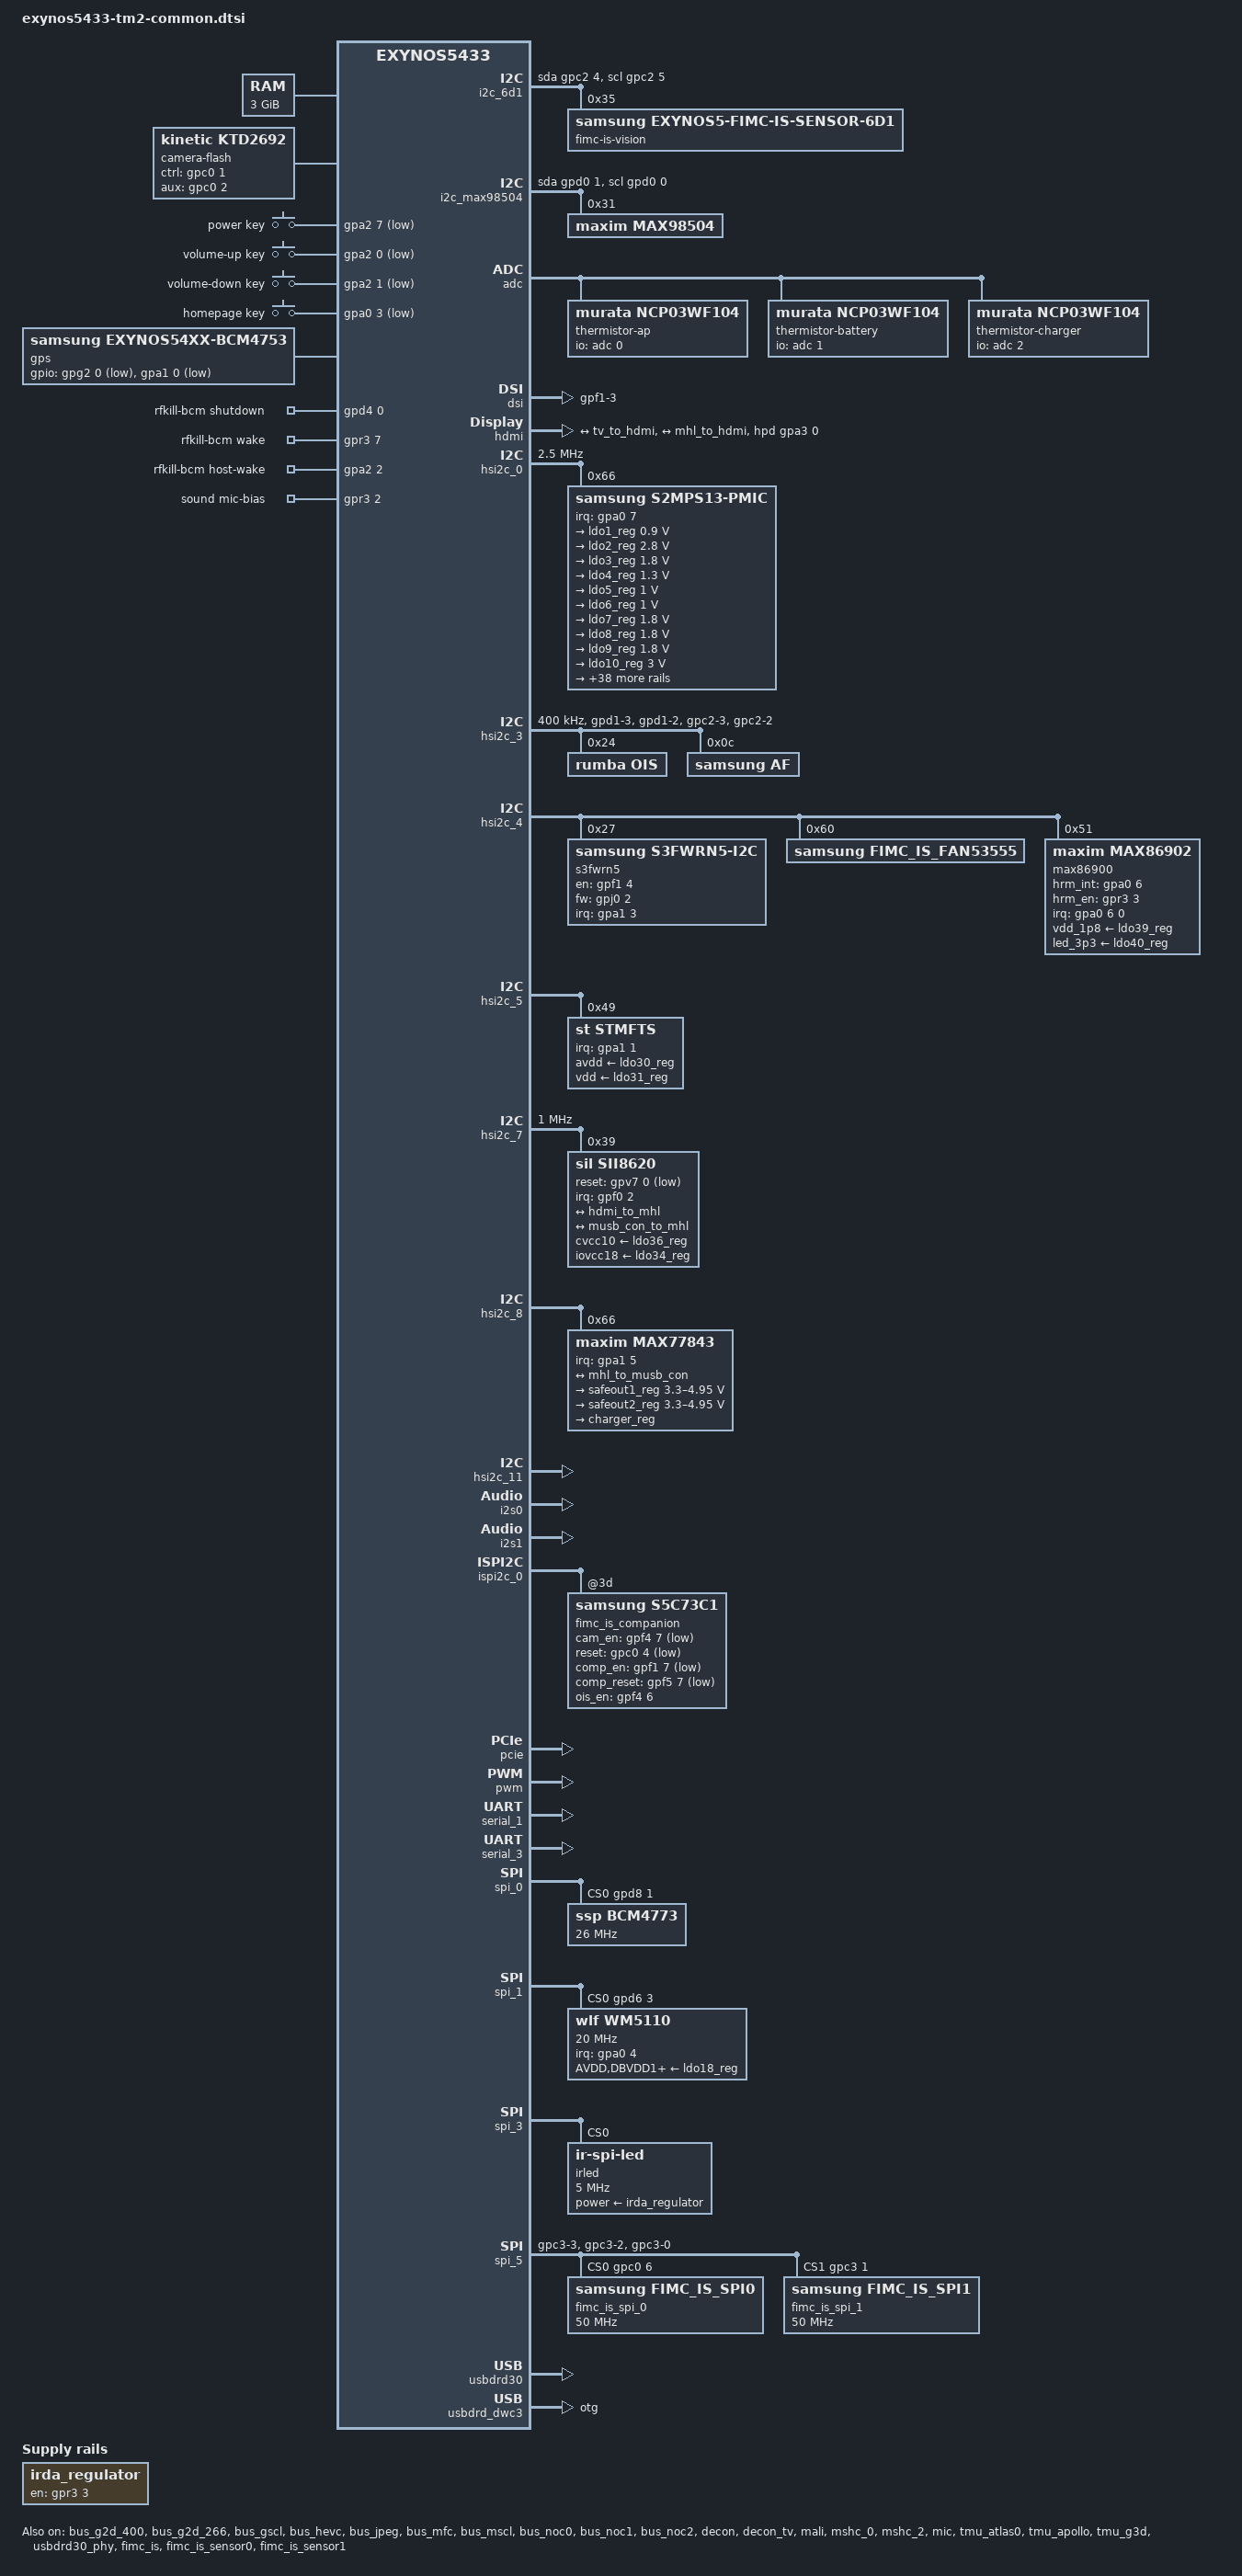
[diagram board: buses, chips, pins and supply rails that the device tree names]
/*
 * SAMSUNG Exynos5433 TM2 board device tree source
 *
 * Copyright (c) 2016 Samsung Electronics Co., Ltd.
 *
 * Common device tree source file for Samsung's TM2 and TM2E boards
 * which are based on Samsung Exynos5433 SoC.
 *
 * This program is free software; you can redistribute it and/or modify
 * it under the terms of the GNU General Public License version 2 as
 * published by the Free Software Foundation.
 */

/dts-v1/;
#include "exynos5433.dtsi"
#include <dt-bindings/clock/samsung,s2mps11.h>
#include <dt-bindings/gpio/gpio.h>
#include <dt-bindings/input/input.h>
#include <dt-bindings/interrupt-controller/irq.h>
#include <dt-bindings/sound/samsung-i2s.h>

/ {
	aliases {
		csis0 = &mipi_csis_0;
		csis1 = &mipi_csis_1;
		csis2 = &mipi_csis_2;
		fimc-lite0 = &fimc_lite_a;
		fimc-lite1 = &fimc_lite_b;
		fimc-lite2 = &fimc_lite_c;
		gsc0 = &gsc_0;
		gsc1 = &gsc_1;
		gsc2 = &gsc_2;
		i2c0 = &hsi2c_0;
		i2c1 = &hsi2c_1;
		i2c2 = &hsi2c_2;
		i2c3 = &hsi2c_3;
		i2c4 = &hsi2c_4;
		i2c5 = &hsi2c_5;
		i2c6 = &hsi2c_6;
		i2c7 = &hsi2c_7;
		i2c8 = &hsi2c_8;
		i2c9 = &hsi2c_9;
		i2c10 = &hsi2c_10;
		i2c11 = &hsi2c_11;
		i2c12 = &i2c_max98504;
		i2c13 = &i2c_6d1;
		i2c20 = &ispi2c_0;
		pinctrl0 = &pinctrl_alive;
		pinctrl1 = &pinctrl_aud;
		pinctrl2 = &pinctrl_cpif;
		pinctrl3 = &pinctrl_ese;
		pinctrl4 = &pinctrl_finger;
		pinctrl5 = &pinctrl_fsys;
		pinctrl6 = &pinctrl_imem;
		pinctrl7 = &pinctrl_nfc;
		pinctrl8 = &pinctrl_peric;
		pinctrl9 = &pinctrl_touch;
		serial0 = &serial_0;
		serial1 = &serial_1;
		serial2 = &serial_2;
		serial3 = &serial_3;
		spi0 = &spi_0;
		spi1 = &spi_1;
		spi2 = &spi_2;
		spi3 = &spi_3;
		spi4 = &spi_4;
		spi5 = &spi_5;
		spi6 = &spi_6;
		mshc0 = &mshc_0;
		mshc2 = &mshc_2;
	};

	chosen {
		stdout-path = &serial_1;
	};

	memory@20000000 {
		device_type = "memory";
		reg = <0x0 0x20000000 0x0 0xc0000000>;
	};

	camera-flash {
		compatible = "kinetic,ktd2692";
		ctrl-gpios = <&gpc0 1 GPIO_ACTIVE_HIGH>;
		aux-gpios = <&gpc0 2 GPIO_ACTIVE_HIGH>;

		flash-led {
			label = "ktd2692-flash";
			led-max-microamp = <300000>;
			flash-max-microamp = <1500000>;
			flash-max-timeout-us = <1835000>;
		};
	};

	gpio-keys {
		compatible = "gpio-keys";

		power-key {
			gpios = <&gpa2 7 GPIO_ACTIVE_LOW>;
			linux,code = <KEY_POWER>;
			label = "power key";
			debounce-interval = <10>;
			wakeup-source;
		};

		volume-up-key {
			gpios = <&gpa2 0 GPIO_ACTIVE_LOW>;
			linux,code = <KEY_VOLUMEUP>;
			label = "volume-up key";
			debounce-interval = <10>;
		};

		volume-down-key {
			gpios = <&gpa2 1 GPIO_ACTIVE_LOW>;
			linux,code = <KEY_VOLUMEDOWN>;
			label = "volume-down key";
			debounce-interval = <10>;
		};

		homepage-key {
			gpios = <&gpa0 3 GPIO_ACTIVE_LOW>;
			linux,code = <KEY_MENU>;
			label = "homepage key";
			debounce-interval = <10>;
		};
	};

	gps {
		compatible = "samsung,exynos54xx-bcm4753";
		gpios = <&gpg2 0 0x1 &gpa1 0 0xf>;
		status = "okay";
		pinctrl-names ="default";
		pinctrl-0 = <&ssp_gps_pwr_en &ssp_host_wake>;
	};

	i2c_6d1: i2c-gpio-1 {
		compatible = "i2c-gpio";
		gpios = <&gpc2 4 GPIO_ACTIVE_HIGH /* SDA */
		         &gpc2 5 GPIO_ACTIVE_HIGH /* SCL */>;
		i2c-gpio,delay-us = <2>;
		#address-cells = <1>;
		#size-cells = <0>;
		status = "okay";
		fimc-is-vision@35 {
			compatible = "samsung,exynos5-fimc-is-sensor-6d1";
			reg = <0x35>;
		};
	};

	i2c_max98504: i2c-gpio-0 {
		compatible = "i2c-gpio";
		gpios = <&gpd0 1 GPIO_ACTIVE_HIGH /* SPK_AMP_SDA */
			 &gpd0 0 GPIO_ACTIVE_HIGH /* SPK_AMP_SCL */ >;
		i2c-gpio,delay-us = <2>;
		#address-cells = <1>;
		#size-cells = <0>;
		status = "okay";

		max98504: max98504@31 {
			compatible = "maxim,max98504";
			reg = <0x31>;
			maxim,rx-path = <1>;
			maxim,tx-path = <1>;
			maxim,tx-channel-mask = <3>;
			maxim,tx-channel-source = <2>;
		};
	};

	irda_regulator: irda-regulator {
		compatible = "regulator-fixed";
		enable-active-high;
		gpio = <&gpr3 3 GPIO_ACTIVE_HIGH>;
		regulator-name = "irda_regulator";
	};

	rfkill-bcm {
		compatible = "brcm,bcm4358";
		rfkill-name = "bcm4358-bt";
		rfkill-type = <2>;
		shutdown-gpios = <&gpd4 0 GPIO_ACTIVE_HIGH>;
		wake-gpios = <&gpr3 7 GPIO_ACTIVE_HIGH>;
		host-wake-gpios = <&gpa2 2 GPIO_ACTIVE_HIGH>;
		clocks = <&s2mps13_osc S2MPS11_CLK_BT>;
		clock-names = "clk32k";
	};

	sound {
		compatible = "samsung,tm2-audio";
		audio-codec = <&wm5110>, <&hdmi>;
		i2s-controller = <&i2s0 0>, <&i2s1 0>;
		audio-amplifier = <&max98504>;
		mic-bias-gpios = <&gpr3 2 GPIO_ACTIVE_HIGH>;
		model = "wm5110";
		samsung,audio-routing =
			/* Headphone */
			"HP", "HPOUT1L",
			"HP", "HPOUT1R",

			/* Speaker */
			"SPK", "SPKOUT",
			"SPKOUT", "HPOUT2L",
			"SPKOUT", "HPOUT2R",

			/* Receiver */
			"RCV", "HPOUT3L",
			"RCV", "HPOUT3R";
		status = "okay";
	};

	fimc_is_sensor0: fimc_is_sensor@12100000 {
		compatible = "samsung,exynos5-fimc-is-sensor";
		reg = <0x12100000 0x10000>, <0x12120000 0x10000>;
		interrupts = <0 140 0>;
		power-domains = <&pd_cam0>;
		clock-names = "sclk_isp_sensor0",
				"sclk_isp_sensor1",
				"sclk_isp_sensor2",

				"mout_sclk_isp_sensor0",
				"mout_sclk_isp_sensor1",
				"mout_sclk_isp_sensor2",

				"dout_sclk_isp_sensor0_a",
				"dout_sclk_isp_sensor0_b",
				"dout_sclk_isp_sensor1_a",
				"dout_sclk_isp_sensor1_b",
				"dout_sclk_isp_sensor2_a",
				"dout_sclk_isp_sensor2_b",
				"oscclk";
		clocks = <&cmu_top CLK_SCLK_ISP_SENSOR0>,
				<&cmu_top CLK_SCLK_ISP_SENSOR1>,
				<&cmu_top CLK_SCLK_ISP_SENSOR2>,

				<&cmu_top CLK_MOUT_SCLK_ISP_SENSOR0>,
				<&cmu_top CLK_MOUT_SCLK_ISP_SENSOR1>,
				<&cmu_top CLK_MOUT_SCLK_ISP_SENSOR2>,

				<&cmu_top CLK_DIV_SCLK_ISP_SENSOR0_A>,
				<&cmu_top CLK_DIV_SCLK_ISP_SENSOR0_B>,
				<&cmu_top CLK_DIV_SCLK_ISP_SENSOR1_A>,
				<&cmu_top CLK_DIV_SCLK_ISP_SENSOR1_B>,
				<&cmu_top CLK_DIV_SCLK_ISP_SENSOR2_A>,
				<&cmu_top CLK_DIV_SCLK_ISP_SENSOR2_B>,
				<&xxti>;

		pinctrl-names =	"ch0", "af0";
		pinctrl-0 = <&fimc_is_ch0_i2c &fimc_is_ch0_mclk>;
		pinctrl-1 = <&fimc_is_ch0_i2c &fimc_is_ch0_mclk &fimc_is_ch1_i2c>;

		scenario = <0>;
		gpio_rest = <&gpc0 4 0x1>;
		id = <0>;
		mclk_ch = <0>;
		csi_ch = <0>;
		flite_ch = <0>;
		i2c_ch = <0x010100>;
		i2c_addr = <0x483434>;
		flash_first_gpio = <1>;
		flash_second_gpio = <2>;
		sensor_name = "imx240";
		sensor_id = <104>;
		is_bns = <1>;
		status = "okay";
		phys = <&mipi_phy 0>;
		phy-names = "csis";
	};

	fimc_is_sensor1: fimc_is_sensor@12110000 {
		compatible = "samsung,exynos5-fimc-is-sensor";
		reg = <0x12110000 0x40000>, <0x12130000 0x10000>;
		interrupts = <0 141 0>;
		power-domains = <&pd_cam0>;
		clock-names = "sclk_isp_sensor0",
				"sclk_isp_sensor1",
				"sclk_isp_sensor2",

				"mout_sclk_isp_sensor0",
				"mout_sclk_isp_sensor1",
				"mout_sclk_isp_sensor2",

				"dout_sclk_isp_sensor0_a",
				"dout_sclk_isp_sensor0_b",
				"dout_sclk_isp_sensor1_a",
				"dout_sclk_isp_sensor1_b",
				"dout_sclk_isp_sensor2_a",
				"dout_sclk_isp_sensor2_b",
				"oscclk";
		clocks = <&cmu_top CLK_SCLK_ISP_SENSOR0>,
				<&cmu_top CLK_SCLK_ISP_SENSOR1>,
				<&cmu_top CLK_SCLK_ISP_SENSOR2>,

				<&cmu_top CLK_MOUT_SCLK_ISP_SENSOR0>,
				<&cmu_top CLK_MOUT_SCLK_ISP_SENSOR1>,
				<&cmu_top CLK_MOUT_SCLK_ISP_SENSOR2>,

				<&cmu_top CLK_DIV_SCLK_ISP_SENSOR0_A>,
				<&cmu_top CLK_DIV_SCLK_ISP_SENSOR0_B>,
				<&cmu_top CLK_DIV_SCLK_ISP_SENSOR1_A>,
				<&cmu_top CLK_DIV_SCLK_ISP_SENSOR1_B>,
				<&cmu_top CLK_DIV_SCLK_ISP_SENSOR2_A>,
				<&cmu_top CLK_DIV_SCLK_ISP_SENSOR2_B>,
				<&xxti>;

		pinctrl-names ="default", "ch1", "off1";
		pinctrl-0 = <&fimc_is_ch2_mclk_off>;
		pinctrl-1 = <&fimc_is_ch2_i2c &fimc_is_ch2_mclk>;
		pinctrl-2 = <&fimc_is_ch2_mclk_off &fimc_is_ch2_i2c_off>;

		scenario = <0>;
		gpio_reset = <&gpc0 3 0x1>;
		gpio_standby = <&gpc0 0 0x1>;
		id = <1>;
		mclk_ch = <2>;
		csi_ch = <1>;
		flite_ch = <1>;
		i2c_ch = <0x2>;
		i2c_addr = <0x6A>;
		sensor_name = "6d1";
		sensor_id = <16>;
		is_bns = <0>;
		status = "okay";
		phys = <&mipi_phy 2>;
		phy-names = "csis";
	};
};

&adc {
	vdd-supply = <&ldo3_reg>;
	status = "okay";

	thermistor-ap {
		compatible = "murata,ncp03wf104";
		pullup-uv = <1800000>;
		pullup-ohm = <100000>;
		pulldown-ohm = <0>;
		io-channels = <&adc 0>;
	};

	thermistor-battery {
		compatible = "murata,ncp03wf104";
		pullup-uv = <1800000>;
		pullup-ohm = <100000>;
		pulldown-ohm = <0>;
		io-channels = <&adc 1>;
		#thermal-sensor-cells = <0>;
	};

	thermistor-charger {
		compatible = "murata,ncp03wf104";
		pullup-uv = <1800000>;
		pullup-ohm = <100000>;
		pulldown-ohm = <0>;
		io-channels = <&adc 2>;
	};
};

&bus_g2d_400 {
	devfreq-events = <&ppmu_event0_d0_general>, <&ppmu_event0_d1_general>;
	vdd-supply = <&buck4_reg>;
	exynos,saturation-ratio = <10>;
	status = "okay";
};

&bus_g2d_266 {
	devfreq = <&bus_g2d_400>;
	status = "okay";
};

&bus_gscl {
	devfreq = <&bus_g2d_400>;
	status = "okay";
};

&bus_hevc {
	devfreq = <&bus_g2d_400>;
	status = "okay";
};

&bus_jpeg {
	devfreq = <&bus_g2d_400>;
	status = "okay";
};

&bus_mfc {
	devfreq = <&bus_g2d_400>;
	status = "okay";
};

&bus_mscl {
	devfreq = <&bus_g2d_400>;
	status = "okay";
};

&bus_noc0 {
	devfreq = <&bus_g2d_400>;
	status = "okay";
};

&bus_noc1 {
	devfreq = <&bus_g2d_400>;
	status = "okay";
};

&bus_noc2 {
	devfreq = <&bus_g2d_400>;
	status = "okay";
};

&cmu_aud {
	assigned-clocks = <&cmu_aud CLK_MOUT_AUD_PLL_USER>,
		<&cmu_aud CLK_MOUT_SCLK_AUD_I2S>,
		<&cmu_aud CLK_MOUT_SCLK_AUD_PCM>,
		<&cmu_top CLK_MOUT_AUD_PLL>,
		<&cmu_top CLK_MOUT_AUD_PLL_USER_T>,
		<&cmu_top CLK_MOUT_SCLK_AUDIO0>,
		<&cmu_top CLK_MOUT_SCLK_AUDIO1>,
		<&cmu_top CLK_MOUT_SCLK_SPDIF>,

		<&cmu_aud CLK_DIV_AUD_CA5>,
		<&cmu_aud CLK_DIV_ACLK_AUD>,
		<&cmu_aud CLK_DIV_PCLK_DBG_AUD>,
		<&cmu_aud CLK_DIV_SCLK_AUD_I2S>,
		<&cmu_aud CLK_DIV_SCLK_AUD_PCM>,
		<&cmu_aud CLK_DIV_SCLK_AUD_SLIMBUS>,
		<&cmu_aud CLK_DIV_SCLK_AUD_UART>,
		<&cmu_top CLK_DIV_SCLK_AUDIO0>,
		<&cmu_top CLK_DIV_SCLK_AUDIO1>,
		<&cmu_top CLK_DIV_SCLK_PCM1>,
		<&cmu_top CLK_DIV_SCLK_I2S1>;

	assigned-clock-parents = <&cmu_top CLK_FOUT_AUD_PLL>,
		<&cmu_aud CLK_MOUT_AUD_PLL_USER>,
		<&cmu_aud CLK_MOUT_AUD_PLL_USER>,
		<&cmu_top CLK_FOUT_AUD_PLL>,
		<&cmu_top CLK_MOUT_AUD_PLL>,
		<&cmu_top CLK_MOUT_AUD_PLL_USER_T>,
		<&cmu_top CLK_MOUT_AUD_PLL_USER_T>,
		<&cmu_top CLK_SCLK_AUDIO0>;

	assigned-clock-rates = <0>, <0>, <0>, <0>, <0>, <0>, <0>, <0>,
		<196608001>, <65536001>, <32768001>, <49152001>,
		<2048001>, <24576001>, <196608001>,
		<24576001>, <98304001>, <2048001>, <49152001>;
};

&cmu_fsys {
	assigned-clocks = <&cmu_top CLK_MOUT_SCLK_USBDRD30>,
		<&cmu_top CLK_MOUT_SCLK_USBHOST30>,
		<&cmu_fsys CLK_MOUT_SCLK_USBDRD30_USER>,
		<&cmu_fsys CLK_MOUT_SCLK_USBHOST30_USER>,
		<&cmu_fsys CLK_MOUT_PHYCLK_USBDRD30_UDRD30_PIPE_PCLK_USER>,
		<&cmu_fsys CLK_MOUT_PHYCLK_USBHOST30_UHOST30_PIPE_PCLK_USER>,
		<&cmu_fsys CLK_MOUT_PHYCLK_USBDRD30_UDRD30_PHYCLOCK_USER>,
		<&cmu_fsys CLK_MOUT_PHYCLK_USBHOST30_UHOST30_PHYCLOCK_USER>,
		<&cmu_top CLK_DIV_SCLK_USBDRD30>,
		<&cmu_top CLK_DIV_SCLK_USBHOST30>;
	assigned-clock-parents = <&cmu_top CLK_MOUT_BUS_PLL_USER>,
		<&cmu_top CLK_MOUT_BUS_PLL_USER>,
		<&cmu_top CLK_SCLK_USBDRD30_FSYS>,
		<&cmu_top CLK_SCLK_USBHOST30_FSYS>,
		<&cmu_fsys CLK_PHYCLK_USBDRD30_UDRD30_PIPE_PCLK_PHY>,
		<&cmu_fsys CLK_PHYCLK_USBHOST30_UHOST30_PIPE_PCLK_PHY>,
		<&cmu_fsys CLK_PHYCLK_USBDRD30_UDRD30_PHYCLOCK_PHY>,
		<&cmu_fsys CLK_PHYCLK_USBHOST30_UHOST30_PHYCLOCK_PHY>;
	assigned-clock-rates = <0>, <0>, <0>, <0>, <0>, <0>, <0>, <0>,
			       <66700000>, <66700000>;
};

&cmu_gscl {
	assigned-clocks = <&cmu_gscl CLK_MOUT_ACLK_GSCL_111_USER>,
			  <&cmu_gscl CLK_MOUT_ACLK_GSCL_333_USER>;
	assigned-clock-parents = <&cmu_top CLK_ACLK_GSCL_111>,
				 <&cmu_top CLK_ACLK_GSCL_333>;
};

&cmu_mfc {
	assigned-clocks = <&cmu_mfc CLK_MOUT_ACLK_MFC_400_USER>;
	assigned-clock-parents = <&cmu_top CLK_ACLK_MFC_400>;
};

&cmu_mscl {
	assigned-clocks = <&cmu_mscl CLK_MOUT_ACLK_MSCL_400_USER>,
			  <&cmu_mscl CLK_MOUT_SCLK_JPEG_USER>,
			  <&cmu_mscl CLK_MOUT_SCLK_JPEG>,
			  <&cmu_top CLK_MOUT_SCLK_JPEG_A>;
	assigned-clock-parents = <&cmu_top CLK_ACLK_MSCL_400>,
				 <&cmu_top CLK_SCLK_JPEG_MSCL>,
				 <&cmu_mscl CLK_MOUT_SCLK_JPEG_USER>,
				 <&cmu_top CLK_MOUT_BUS_PLL_USER>;
};

&cmu_top {
	assigned-clocks = <&cmu_top CLK_FOUT_AUD_PLL>;
	assigned-clock-rates = <196608001>;
};

&cpu0 {
	cpu-supply = <&buck3_reg>;
};

&cpu4 {
	cpu-supply = <&buck2_reg>;
};

&decon {
	status = "okay";
};

&decon_tv {
	status = "okay";

	ports {
		#address-cells = <1>;
		#size-cells = <0>;

		port@0 {
			reg = <0>;
			tv_to_hdmi: endpoint {
				remote-endpoint = <&hdmi_to_tv>;
			};
		};
	};
};

&dsi {
	status = "okay";
	vddcore-supply = <&ldo6_reg>;
	vddio-supply = <&ldo7_reg>;
	samsung,burst-clock-frequency = <512000000>;
	samsung,esc-clock-frequency = <16000000>;
	samsung,pll-clock-frequency = <24000000>;
	pinctrl-names = "default";
	pinctrl-0 = <&te_irq>;
};

&hdmi {
	hpd-gpios = <&gpa3 0 GPIO_ACTIVE_HIGH>;
	status = "okay";
	vdd-supply = <&ldo6_reg>;
	vdd_osc-supply = <&ldo7_reg>;
	vdd_pll-supply = <&ldo6_reg>;

	ports {
		#address-cells = <1>;
		#size-cells = <0>;

		port@0 {
			reg = <0>;
			hdmi_to_tv: endpoint {
				remote-endpoint = <&tv_to_hdmi>;
			};
		};

		port@1 {
			reg = <1>;
			hdmi_to_mhl: endpoint {
				remote-endpoint = <&mhl_to_hdmi>;
			};
		};
	};
};

&hsi2c_0 {
	status = "okay";
	clock-frequency = <2500000>;

	s2mps13-pmic@66 {
		compatible = "samsung,s2mps13-pmic";
		interrupt-parent = <&gpa0>;
		interrupts = <7 IRQ_TYPE_NONE>;
		reg = <0x66>;
		samsung,s2mps11-wrstbi-ground;

		s2mps13_osc: clocks {
			compatible = "samsung,s2mps13-clk";
			#clock-cells = <1>;
			clock-output-names = "s2mps13_ap", "s2mps13_cp",
				"s2mps13_bt";
		};

		regulators {
			ldo1_reg: LDO1 {
				regulator-name = "VDD_ALIVE_0.9V_AP";
				regulator-min-microvolt = <900000>;
				regulator-max-microvolt = <900000>;
				regulator-always-on;
			};

			ldo2_reg: LDO2 {
				regulator-name = "VDDQ_MMC2_2.8V_AP";
				regulator-min-microvolt = <2800000>;
				regulator-max-microvolt = <2800000>;
				regulator-always-on;
				regulator-state-mem {
					regulator-off-in-suspend;
				};
			};

			ldo3_reg: LDO3 {
				regulator-name = "VDD1_E_1.8V_AP";
				regulator-min-microvolt = <1800000>;
				regulator-max-microvolt = <1800000>;
				regulator-always-on;
			};

			ldo4_reg: LDO4 {
				regulator-name = "VDD10_MIF_PLL_1.0V_AP";
				regulator-min-microvolt = <1300000>;
				regulator-max-microvolt = <1300000>;
				regulator-always-on;
				regulator-state-mem {
					regulator-off-in-suspend;
				};
			};

			ldo5_reg: LDO5 {
				regulator-name = "VDD10_DPLL_1.0V_AP";
				regulator-min-microvolt = <1000000>;
				regulator-max-microvolt = <1000000>;
				regulator-always-on;
				regulator-state-mem {
					regulator-off-in-suspend;
				};
			};

			ldo6_reg: LDO6 {
				regulator-name = "VDD10_MIPI2L_1.0V_AP";
				regulator-min-microvolt = <1000000>;
				regulator-max-microvolt = <1000000>;
				regulator-state-mem {
					regulator-off-in-suspend;
				};
			};

			ldo7_reg: LDO7 {
				regulator-name = "VDD18_MIPI2L_1.8V_AP";
				regulator-min-microvolt = <1800000>;
				regulator-max-microvolt = <1800000>;
				regulator-always-on;
				regulator-state-mem {
					regulator-off-in-suspend;
				};
			};

			ldo8_reg: LDO8 {
				regulator-name = "VDD18_LLI_1.8V_AP";
				regulator-min-microvolt = <1800000>;
				regulator-max-microvolt = <1800000>;
				regulator-always-on;
				regulator-state-mem {
					regulator-off-in-suspend;
				};
			};

			ldo9_reg: LDO9 {
				regulator-name = "VDD18_ABB_ETC_1.8V_AP";
				regulator-min-microvolt = <1800000>;
				regulator-max-microvolt = <1800000>;
				regulator-always-on;
				regulator-state-mem {
					regulator-off-in-suspend;
				};
			};

			ldo10_reg: LDO10 {
				regulator-name = "VDD33_USB30_3.0V_AP";
				regulator-min-microvolt = <3000000>;
				regulator-max-microvolt = <3000000>;
				regulator-state-mem {
					regulator-off-in-suspend;
				};
			};

			ldo11_reg: LDO11 {
				regulator-name = "VDD_INT_M_1.0V_AP";
				regulator-min-microvolt = <1000000>;
				regulator-max-microvolt = <1000000>;
				regulator-always-on;
				regulator-state-mem {
					regulator-off-in-suspend;
				};
			};

			ldo12_reg: LDO12 {
				regulator-name = "VDD_KFC_M_1.1V_AP";
				regulator-min-microvolt = <800000>;
				regulator-max-microvolt = <1350000>;
				regulator-always-on;
			};

			ldo13_reg: LDO13 {
				regulator-name = "VDD_G3D_M_0.95V_AP";
				regulator-min-microvolt = <950000>;
				regulator-max-microvolt = <950000>;
				regulator-always-on;
				regulator-state-mem {
					regulator-off-in-suspend;
				};
			};

			ldo14_reg: LDO14 {
				regulator-name = "VDDQ_M1_LDO_1.2V_AP";
				regulator-min-microvolt = <1200000>;
				regulator-max-microvolt = <1200000>;
				regulator-always-on;
				regulator-state-mem {
					regulator-off-in-suspend;
				};
			};

			ldo15_reg: LDO15 {
				regulator-name = "VDDQ_M2_LDO_1.2V_AP";
				regulator-min-microvolt = <1200000>;
				regulator-max-microvolt = <1200000>;
				regulator-always-on;
				regulator-state-mem {
					regulator-off-in-suspend;
				};
			};

			ldo16_reg: LDO16 {
				regulator-name = "VDDQ_EFUSE";
				regulator-min-microvolt = <1400000>;
				regulator-max-microvolt = <3400000>;
				regulator-always-on;
			};

			ldo17_reg: LDO17 {
				regulator-name = "V_TFLASH_2.8V_AP";
				regulator-min-microvolt = <2800000>;
				regulator-max-microvolt = <2800000>;
			};

			ldo18_reg: LDO18 {
				regulator-name = "V_CODEC_1.8V_AP";
				regulator-min-microvolt = <1800000>;
				regulator-max-microvolt = <1800000>;
			};

			ldo19_reg: LDO19 {
				regulator-name = "VDDA_1.8V_COMP";
				regulator-min-microvolt = <1800000>;
				regulator-max-microvolt = <1800000>;
				regulator-always-on;
			};

			ldo20_reg: LDO20 {
				regulator-name = "VCC_2.8V_AP";
				regulator-min-microvolt = <2800000>;
				regulator-max-microvolt = <2800000>;
				regulator-always-on;
			};

			ldo21_reg: LDO21 {
				regulator-name = "VT_CAM_1.8V";
				regulator-min-microvolt = <1800000>;
				regulator-max-microvolt = <1800000>;
			};

			ldo22_reg: LDO22 {
				regulator-name = "CAM_IO_1.8V_AP";
				regulator-min-microvolt = <1800000>;
				regulator-max-microvolt = <1800000>;
			};

			ldo23_reg: LDO23 {
				regulator-name = "CAM_SEN_CORE_1.2V_AP";
				regulator-min-microvolt = <1050000>;
				regulator-max-microvolt = <1200000>;
			};

			ldo24_reg: LDO24 {
				regulator-name = "VT_CAM_1.2V";
				regulator-min-microvolt = <1200000>;
				regulator-max-microvolt = <1200000>;
			};

			ldo25_reg: LDO25 {
				regulator-name = "UNUSED_LDO25";
				regulator-min-microvolt = <2800000>;
				regulator-max-microvolt = <2800000>;
			};

			ldo26_reg: LDO26 {
				regulator-name = "CAM_AF_2.8V_AP";
				regulator-min-microvolt = <2800000>;
				regulator-max-microvolt = <2800000>;
			};

			ldo27_reg: LDO27 {
				regulator-name = "VCC_3.0V_LCD_AP";
				regulator-min-microvolt = <3000000>;
				regulator-max-microvolt = <3000000>;
			};

			ldo28_reg: LDO28 {
				regulator-name = "VCC_1.8V_LCD_AP";
				regulator-min-microvolt = <1800000>;
				regulator-max-microvolt = <1800000>;
			};

			ldo29_reg: LDO29 {
				regulator-name = "VT_CAM_2.8V";
				regulator-min-microvolt = <3000000>;
				regulator-max-microvolt = <3000000>;
			};

			ldo30_reg: LDO30 {
				regulator-name = "TSP_AVDD_3.3V_AP";
				regulator-min-microvolt = <3300000>;
				regulator-max-microvolt = <3300000>;
			};

			ldo31_reg: LDO31 {
				/*
				 * LDO31 differs from target to target,
				 * its definition is in the .dts
				 */
			};

			ldo32_reg: LDO32 {
				regulator-name = "VTOUCH_1.8V_AP";
				regulator-min-microvolt = <1800000>;
				regulator-max-microvolt = <1800000>;
			};

			ldo33_reg: LDO33 {
				regulator-name = "VTOUCH_LED_3.3V";
				regulator-min-microvolt = <2500000>;
				regulator-max-microvolt = <3300000>;
				regulator-ramp-delay = <12500>;
			};

			ldo34_reg: LDO34 {
				regulator-name = "VCC_1.8V_MHL_AP";
				regulator-min-microvolt = <1000000>;
				regulator-max-microvolt = <2100000>;
			};

			ldo35_reg: LDO35 {
				regulator-name = "OIS_VM_2.8V";
				regulator-min-microvolt = <1800000>;
				regulator-max-microvolt = <2800000>;
			};

			ldo36_reg: LDO36 {
				regulator-name = "VSIL_1.0V";
				regulator-min-microvolt = <1000000>;
				regulator-max-microvolt = <1000000>;
			};

			ldo37_reg: LDO37 {
				regulator-name = "VF_1.8V";
				regulator-min-microvolt = <1800000>;
				regulator-max-microvolt = <1800000>;
			};

			ldo38_reg: LDO38 {
				/*
				 * LDO38 differs from target to target,
				 * its definition is in the .dts
				 */
			};

			ldo39_reg: LDO39 {
				regulator-name = "V_HRM_1.8V";
				regulator-min-microvolt = <1800000>;
				regulator-max-microvolt = <1800000>;
			};

			ldo40_reg: LDO40 {
				regulator-name = "V_HRM_3.3V";
				regulator-min-microvolt = <3300000>;
				regulator-max-microvolt = <3300000>;
			};

			buck1_reg: BUCK1 {
				regulator-name = "VDD_MIF_0.9V_AP";
				regulator-min-microvolt = <600000>;
				regulator-max-microvolt = <1500000>;
				regulator-always-on;
				regulator-state-mem {
					regulator-off-in-suspend;
				};
			};

			buck2_reg: BUCK2 {
				regulator-name = "VDD_EGL_1.0V_AP";
				regulator-min-microvolt = <900000>;
				regulator-max-microvolt = <1300000>;
				regulator-always-on;
				regulator-state-mem {
					regulator-off-in-suspend;
				};
			};

			buck3_reg: BUCK3 {
				regulator-name = "VDD_KFC_1.0V_AP";
				regulator-min-microvolt = <800000>;
				regulator-max-microvolt = <1200000>;
				regulator-always-on;
				regulator-state-mem {
					regulator-off-in-suspend;
				};
			};

			buck4_reg: BUCK4 {
				regulator-name = "VDD_INT_0.95V_AP";
				regulator-min-microvolt = <600000>;
				regulator-max-microvolt = <1500000>;
				regulator-always-on;
				regulator-state-mem {
					regulator-off-in-suspend;
				};
			};

			buck5_reg: BUCK5 {
				regulator-name = "VDD_DISP_CAM0_0.9V_AP";
				regulator-min-microvolt = <600000>;
				regulator-max-microvolt = <1500000>;
				regulator-always-on;
				regulator-state-mem {
					regulator-off-in-suspend;
				};
			};

			buck6_reg: BUCK6 {
				regulator-name = "VDD_G3D_0.9V_AP";
				regulator-min-microvolt = <600000>;
				regulator-max-microvolt = <1500000>;
				regulator-always-on;
				regulator-state-mem {
					regulator-off-in-suspend;
				};
			};

			buck7_reg: BUCK7 {
				regulator-name = "VDD_MEM1_1.2V_AP";
				regulator-min-microvolt = <1200000>;
				regulator-max-microvolt = <1200000>;
				regulator-always-on;
			};

			buck8_reg: BUCK8 {
				regulator-name = "VDD_LLDO_1.35V_AP";
				regulator-min-microvolt = <1350000>;
				regulator-max-microvolt = <3300000>;
				regulator-always-on;
			};

			buck9_reg: BUCK9 {
				regulator-name = "VDD_MLDO_2.0V_AP";
				regulator-min-microvolt = <1350000>;
				regulator-max-microvolt = <3300000>;
				regulator-always-on;
			};

			buck10_reg: BUCK10 {
				regulator-name = "vdd_mem2";
				regulator-min-microvolt = <550000>;
				regulator-max-microvolt = <1500000>;
				regulator-always-on;
			};
		};
	};
};

&hsi2c_3 {
	status = "okay";

	clock-frequency = <400000>;
	pinctrl-names = "default","on_i2c","off_i2c";
	pinctrl-0 = <&fimc_is_hsi2c_off &fimc_is_ch1_i2c_off>;
	pinctrl-1 = <&fimc_is_ois_hsi2c_on &fimc_is_ch1_i2c_off>;
	pinctrl-2 = <&fimc_is_hsi2c_off &fimc_is_ch1_i2c>;

	ois@24{
		compatible = "rumba,ois";
		reg = <0x24>;
	};

	af@0c{
		compatible = "samsung,af";
		reg = <0x0c>;
	};
};

&hsi2c_4 {
	status = "okay";

	s3fwrn5: nfc@27 {
		compatible = "samsung,s3fwrn5-i2c";
		reg = <0x27>;
		interrupt-parent = <&gpa1>;
		interrupts = <3 IRQ_TYPE_LEVEL_HIGH>;
		s3fwrn5,en-gpios = <&gpf1 4 GPIO_ACTIVE_HIGH>;
		s3fwrn5,fw-gpios = <&gpj0 2 GPIO_ACTIVE_HIGH>;
	};

	fimc_is_fan53555@60 {
		compatible = "samsung,fimc_is_fan53555";
		reg = <0x60>;
		comp_en = <&gpf1 7 0x01>;
		status = "okay";
	};

	max86900@51 {
		compatible = "maxim,max86902";
		reg = <0x51>;
		interrupt-parent = <&gpa0>;
		interrupts = <6 0 0>;
		vdd_1p8-supply = <&ldo39_reg>;
		led_3p3-supply = <&ldo40_reg>;
		max86900,hrm_int-gpio = <&gpa0 6 0>;
		max86900,hrm_en-gpio = <&gpr3 3 0>;
		max86900,dual-hrm = <1>;
	};
};

&hsi2c_5 {
	status = "okay";

	stmfts: touchscreen@49 {
		compatible = "st,stmfts";
		reg = <0x49>;
		interrupt-parent = <&gpa1>;
		interrupts = <1 IRQ_TYPE_LEVEL_LOW>;
		avdd-supply = <&ldo30_reg>;
		vdd-supply = <&ldo31_reg>;
	};
};

&hsi2c_7 {
	status = "okay";
	clock-frequency = <1000000>;

	sii8620@39 {
		reg = <0x39>;
		compatible = "sil,sii8620";
		cvcc10-supply = <&ldo36_reg>;
		iovcc18-supply = <&ldo34_reg>;
		interrupt-parent = <&gpf0>;
		interrupts = <2 IRQ_TYPE_LEVEL_HIGH>;
		reset-gpios = <&gpv7 0 GPIO_ACTIVE_LOW>;
		clocks = <&pmu_system_controller 0>;
		clock-names = "xtal";

		ports {
			#address-cells = <1>;
			#size-cells = <0>;

			port@0 {
				reg = <0>;
				mhl_to_hdmi: endpoint {
					remote-endpoint = <&hdmi_to_mhl>;
				};
			};

			port@1 {
				reg = <1>;
				mhl_to_musb_con: endpoint {
					remote-endpoint = <&musb_con_to_mhl>;
				};
			};
		};
	};
};

&hsi2c_8 {
	status = "okay";

	max77843@66 {
		compatible = "maxim,max77843";
		interrupt-parent = <&gpa1>;
		interrupts = <5 IRQ_TYPE_EDGE_FALLING>;
		reg = <0x66>;

		muic: max77843-muic {
			compatible = "maxim,max77843-muic";

			musb_con: musb_connector {
				compatible = "samsung,usb-connector-11pin",
					     "usb-b-connector";
				label = "micro-USB";
				type = "micro";

				ports {
					#address-cells = <1>;
					#size-cells = <0>;

					port@3 {
						reg = <3>;
						musb_con_to_mhl: endpoint {
							remote-endpoint = <&mhl_to_musb_con>;
						};
					};
				};
			};
		};

		regulators {
			compatible = "maxim,max77843-regulator";
			safeout1_reg: SAFEOUT1 {
				regulator-name = "SAFEOUT1";
				regulator-min-microvolt = <3300000>;
				regulator-max-microvolt = <4950000>;
			};

			safeout2_reg: SAFEOUT2 {
				regulator-name = "SAFEOUT2";
				regulator-min-microvolt = <3300000>;
				regulator-max-microvolt = <4950000>;
			};

			charger_reg: CHARGER {
				regulator-name = "CHARGER";
				regulator-min-microamp = <100000>;
				regulator-max-microamp = <3150000>;
			};
		};

		haptic: max77843-haptic {
			compatible = "maxim,max77843-haptic";
			haptic-supply = <&ldo38_reg>;
			pwms = <&pwm 0 33670 0>;
			pwm-names = "haptic";
		};
	};
};

&hsi2c_11 {
	status = "okay";
};

&i2s0 {
	status = "okay";
};

&i2s1 {
	assigned-clocks = <&i2s1 CLK_I2S_RCLK_SRC>;
	assigned-clock-parents = <&cmu_peric CLK_SCLK_I2S1>;
	status = "okay";
};

&ispi2c_0 {
	fimc_is_companion: sensor@3d {
		compatible = "samsung,s5c73c1";
		reg = <0x3d>;
		power-domains = <&pd_cam1>;
		clock-names =
				/* SENSOR0 MCLK */
				"sclk_isp_sensor0",
				"mout_sclk_isp_sensor0",
				"dout_sclk_isp_sensor0_a",
				"dout_sclk_isp_sensor0_b",

				"mout_bus_pll_user",
				"oscclk",

				/* SPI-ISP */
				"sclk_isp_spi0_top",
				"sclk_isp_spi1_top",
				"mout_sclk_isp_spi0",
				"mout_sclk_isp_spi1",

				"gate_isp_spi1",
				"gate_isp_spi0",
				"dout_sclk_isp_spi0_a",
				"dout_sclk_isp_spi0_b",
				"dout_sclk_isp_spi1_a",
				"dout_sclk_isp_spi1_b",

				"mout_sclk_isp_spi0_user",
				"mout_sclk_isp_spi1_user",

				/* CMU TOP */
				"dout_aclk_cam1_333",

				/* USER_MUX_SEL */
				"aclk_cam1_333",
				"mout_aclk_cam1_333_user",

				/* MPWM */
				"dout_pclk_cam1_166",
				"dout_pclk_cam1_83",
				"dout_sclk_isp_mpwm";
		clocks =
				/* SENSOR0 MCLK */
				<&cmu_top CLK_SCLK_ISP_SENSOR0>,
				<&cmu_top CLK_MOUT_SCLK_ISP_SENSOR0>,
				<&cmu_top CLK_DIV_SCLK_ISP_SENSOR0_A>,
				<&cmu_top CLK_DIV_SCLK_ISP_SENSOR0_B>,

				<&cmu_top CLK_MOUT_BUS_PLL_USER>,
				<&xxti>,

				<&cmu_top CLK_SCLK_ISP_SPI0_CAM1>,
				<&cmu_top CLK_SCLK_ISP_SPI1_CAM1>,
				<&cmu_top CLK_MOUT_SCLK_ISP_SPI0>,
				<&cmu_top CLK_MOUT_SCLK_ISP_SPI1>,

				<&cmu_cam1 CLK_ISP_SPI1>,
				<&cmu_cam1 CLK_ISP_SPI0>,

				<&cmu_top CLK_DIV_SCLK_ISP_SPI0_A>,
				<&cmu_top CLK_DIV_SCLK_ISP_SPI0_B>,
				<&cmu_top CLK_DIV_SCLK_ISP_SPI1_A>,
				<&cmu_top CLK_DIV_SCLK_ISP_SPI1_B>,

				<&cmu_cam1 CLK_MOUT_SCLK_ISP_SPI0_USER>,
				<&cmu_cam1 CLK_MOUT_SCLK_ISP_SPI1_USER>,

				<&cmu_top CLK_DIV_ACLK_CAM1_333>,

				/* USER_MUX_SEL */
				<&cmu_top CLK_ACLK_CAM1_333>,
				<&cmu_cam1 CLK_MOUT_ACLK_CAM1_333_USER>,

				/* MPWM */
				<&cmu_cam1 CLK_DIV_PCLK_CAM1_166>,
				<&cmu_cam1 CLK_DIV_PCLK_CAM1_83>,
				<&cmu_cam1 CLK_DIV_SCLK_ISP_MPWM>;

		pinctrl-names ="default", "ch0", "af0", "off0";
		pinctrl-0 = <&fimc_is_ch0_mclk_off>;
		pinctrl-1 = <&fimc_is_ch0_mclk>;
		pinctrl-2 = <&fimc_is_ch0_mclk>;
		pinctrl-3 = <&fimc_is_ch0_mclk_off>;

		scenario = <0>;
		mclk_ch = <0>;
		sensor_id = <104>;

		gpios_cam_en = <&gpf4 7 0x1>;
		gpio_reset = <&gpc0 4 0x1>;
		gpios_comp_en = <&gpf1 7 0x1>; /* COMP_EN */
		gpios_comp_reset = <&gpf5 7 0x1>; /* COMP_RSTN */
		gpios_ois_en = <&gpf4 6 0>; /* OIS_EN*/

		status = "okay";
	};
};

&mali {
	status = "okay";
	vdd_g3d-supply = <&buck6_reg>;
	mali-supply = <&buck6_reg>;
};

&mshc_0 {
	status = "okay";
	mmc-hs200-1_8v;
	mmc-hs400-1_8v;
	cap-mmc-highspeed;
	non-removable;
	card-detect-delay = <200>;
	samsung,dw-mshc-ciu-div = <3>;
	samsung,dw-mshc-sdr-timing = <0 4>;
	samsung,dw-mshc-ddr-timing = <0 2>;
	samsung,dw-mshc-hs400-timing = <0 3>;
	samsung,read-strobe-delay = <90>;
	fifo-depth = <0x80>;
	pinctrl-names = "default";
	pinctrl-0 = <&sd0_clk &sd0_cmd &sd0_qrdy &sd0_bus1 &sd0_bus4
			&sd0_bus8 &sd0_rdqs>;
	bus-width = <8>;
	assigned-clocks = <&cmu_top CLK_SCLK_MMC0_FSYS>;
	assigned-clock-rates = <800000000>;
};

&mshc_2 {
	status = "okay";
	cap-sd-highspeed;
	disable-wp;
	cd-gpios = <&gpa2 4 GPIO_ACTIVE_HIGH>;
	cd-inverted;
	card-detect-delay = <200>;
	samsung,dw-mshc-ciu-div = <3>;
	samsung,dw-mshc-sdr-timing = <0 4>;
	samsung,dw-mshc-ddr-timing = <0 2>;
	fifo-depth = <0x80>;
	pinctrl-names = "default";
	pinctrl-0 = <&sd2_clk &sd2_cmd &sd2_bus1 &sd2_bus4>;
	bus-width = <4>;
};

&pcie {
	status = "okay";
	assigned-clocks = <&cmu_fsys CLK_MOUT_SCLK_PCIE_100_USER>,
			<&cmu_top CLK_MOUT_SCLK_PCIE_100>;
	assigned-clock-parents = <&cmu_top CLK_SCLK_PCIE_100_FSYS>,
			<&cmu_top CLK_MOUT_BUS_PLL_USER>;
	assigned-clock-rates = <0>, <100000000>;
	#interrupt-cells = <1>;
	interrupt-map-mask = <0 0 0 0>;
	interrupt-map = <0 0 0 0 &gic GIC_SPI 245 IRQ_TYPE_LEVEL_HIGH>;
};

&ppmu_d0_general {
	status = "okay";
	events {
		ppmu_event0_d0_general: ppmu-event0-d0-general {
			event-name = "ppmu-event0-d0-general";
		};
	};
};

&ppmu_d1_general {
	status = "okay";
	events {
		ppmu_event0_d1_general: ppmu-event0-d1-general {
		       event-name = "ppmu-event0-d1-general";
	       };
       };
};

&pinctrl_alive {
	pinctrl-names = "default";
	pinctrl-0 = <&initial_alive>;

	initial_alive: initial-state {
		PIN(INPUT, gpa0-0, DOWN, FAST_SR1);
		PIN(INPUT, gpa0-1, NONE, FAST_SR1);
		PIN(INPUT, gpa0-2, DOWN, FAST_SR1);
		PIN(INPUT, gpa0-3, NONE, FAST_SR1);
		PIN(INPUT, gpa0-4, NONE, FAST_SR1);
		PIN(INPUT, gpa0-5, DOWN, FAST_SR1);
		PIN(INPUT, gpa0-6, NONE, FAST_SR1);
		PIN(INPUT, gpa0-7, NONE, FAST_SR1);

		PIN(INPUT, gpa1-1, UP, FAST_SR1);
		PIN(INPUT, gpa1-2, NONE, FAST_SR1);
		PIN(INPUT, gpa1-3, DOWN, FAST_SR1);
		PIN(INPUT, gpa1-4, DOWN, FAST_SR1);
		PIN(INPUT, gpa1-5, NONE, FAST_SR1);
		PIN(INPUT, gpa1-6, NONE, FAST_SR1);
		PIN(INPUT, gpa1-7, NONE, FAST_SR1);

		PIN(INPUT, gpa2-0, NONE, FAST_SR1);
		PIN(INPUT, gpa2-1, NONE, FAST_SR1);
		PIN(INPUT, gpa2-2, NONE, FAST_SR1);
		PIN(INPUT, gpa2-3, DOWN, FAST_SR1);
		PIN(INPUT, gpa2-4, NONE, FAST_SR1);
		PIN(INPUT, gpa2-5, DOWN, FAST_SR1);
		PIN(INPUT, gpa2-6, DOWN, FAST_SR1);
		PIN(INPUT, gpa2-7, NONE, FAST_SR1);

		PIN(INPUT, gpa3-0, DOWN, FAST_SR1);
		PIN(INPUT, gpa3-1, DOWN, FAST_SR1);
		PIN(INPUT, gpa3-2, NONE, FAST_SR1);
		PIN(INPUT, gpa3-4, NONE, FAST_SR1);
		PIN(INPUT, gpa3-5, DOWN, FAST_SR1);
		PIN(INPUT, gpa3-6, DOWN, FAST_SR1);
		PIN(INPUT, gpa3-7, DOWN, FAST_SR1);

		PIN(INPUT, gpf1-0, NONE, FAST_SR1);
		PIN(INPUT, gpf1-1, NONE, FAST_SR1);
		PIN(INPUT, gpf1-2, DOWN, FAST_SR1);
		PIN(INPUT, gpf1-4, UP, FAST_SR1);
		PIN(OUTPUT, gpf1-5, NONE, FAST_SR1);
		PIN(INPUT, gpf1-6, DOWN, FAST_SR1);
		PIN(INPUT, gpf1-7, DOWN, FAST_SR1);

		PIN(INPUT, gpf2-0, DOWN, FAST_SR1);
		PIN(INPUT, gpf2-1, DOWN, FAST_SR1);

		PIN(INPUT, gpf3-0, DOWN, FAST_SR1);
		PIN(INPUT, gpf3-1, DOWN, FAST_SR1);
		PIN(INPUT, gpf3-2, NONE, FAST_SR1);
		PIN(INPUT, gpf3-3, DOWN, FAST_SR1);

		PIN(INPUT, gpf4-0, DOWN, FAST_SR1);
		PIN(INPUT, gpf4-1, DOWN, FAST_SR1);
		PIN(INPUT, gpf4-2, DOWN, FAST_SR1);
		PIN(INPUT, gpf4-3, DOWN, FAST_SR1);
		PIN(INPUT, gpf4-4, DOWN, FAST_SR1);
		PIN(INPUT, gpf4-5, DOWN, FAST_SR1);
		PIN(INPUT, gpf4-6, DOWN, FAST_SR1);
		PIN(INPUT, gpf4-7, DOWN, FAST_SR1);

		PIN(INPUT, gpf5-0, DOWN, FAST_SR1);
		PIN(INPUT, gpf5-1, DOWN, FAST_SR1);
		PIN(INPUT, gpf5-2, DOWN, FAST_SR1);
		PIN(INPUT, gpf5-3, DOWN, FAST_SR1);
		PIN(OUTPUT, gpf5-4, NONE, FAST_SR1);
		PIN(INPUT, gpf5-5, DOWN, FAST_SR1);
		PIN(INPUT, gpf5-6, DOWN, FAST_SR1);
		PIN(INPUT, gpf5-7, DOWN, FAST_SR1);
	};

	ssp_irq: ssp-irq {
		samsung,pins = "gpa3-3";
		samsung,pin-function = <0xf>;
		samsung,pin-pud = <1>;
		samsung,pin-drv = <3>;
	};

	ssp_mcu_req: ssp-mcu-req {
		samsung,pins = "gpf2-3";
		samsung,pin-function = <1>;
		samsung,pin-pud = <1>;
		samsung,pin-drv = <3>;
	};

	ssp_mcu_resp: ssp-mcu-resp {
		samsung,pins = "gpf2-2";
		samsung,pin-function = <0>;
		samsung,pin-pud = <3>;
		samsung,pin-drv = <3>;
	};

	ssp_host_wake: ssp-host-wake {
		samsung,pins = "gpa1-0";
		samsung,pin-function = <0>;
		samsung,pin-pud = <3>;
		samsung,pin-drv = <3>;
	};

	te_irq: te_irq {
		samsung,pins = "gpf1-3";
		samsung,pin-function = <0xf>;
	};
};

&pinctrl_cpif {
	pinctrl-names = "default";
	pinctrl-0 = <&initial_cpif>;

	initial_cpif: initial-state {
		PIN(INPUT, gpv6-0, DOWN, FAST_SR1);
		PIN(INPUT, gpv6-1, DOWN, FAST_SR1);
	};
};

&pinctrl_ese {
	pinctrl-names = "default";
	pinctrl-0 = <&initial_ese>;

	initial_ese: initial-state {
		PIN(INPUT, gpj2-1, DOWN, FAST_SR1);
		PIN(INPUT, gpj2-2, DOWN, FAST_SR1);
	};
};

&pinctrl_fsys {
	pinctrl-names = "default";
	pinctrl-0 = <&initial_fsys>;

	initial_fsys: initial-state {
		PIN(INPUT, gpr3-0, NONE, FAST_SR1);
		PIN(INPUT, gpr3-1, DOWN, FAST_SR1);
		PIN(INPUT, gpr3-2, DOWN, FAST_SR1);
		PIN(INPUT, gpr3-3, DOWN, FAST_SR1);
		PIN(INPUT, gpr3-7, NONE, FAST_SR1);
	};
};

&pinctrl_imem {
	pinctrl-names = "default";
	pinctrl-0 = <&initial_imem>;

	initial_imem: initial-state {
		PIN(INPUT, gpf0-0, UP, FAST_SR1);
		PIN(INPUT, gpf0-1, UP, FAST_SR1);
		PIN(INPUT, gpf0-2, DOWN, FAST_SR1);
		PIN(INPUT, gpf0-3, UP, FAST_SR1);
		PIN(INPUT, gpf0-4, DOWN, FAST_SR1);
		PIN(INPUT, gpf0-5, NONE, FAST_SR1);
		PIN(INPUT, gpf0-6, DOWN, FAST_SR1);
		PIN(INPUT, gpf0-7, UP, FAST_SR1);
	};
};

&pinctrl_nfc {
	pinctrl-names = "default";
	pinctrl-0 = <&initial_nfc>;

	initial_nfc: initial-state {
		PIN(INPUT, gpj0-2, DOWN, FAST_SR1);
	};
};

&pinctrl_peric {
	pinctrl-names = "default";
	pinctrl-0 = <&initial_peric>;

	initial_peric: initial-state {
		PIN(INPUT, gpv7-0, DOWN, FAST_SR1);
		PIN(INPUT, gpv7-1, DOWN, FAST_SR1);
		PIN(INPUT, gpv7-2, NONE, FAST_SR1);
		PIN(INPUT, gpv7-3, DOWN, FAST_SR1);
		PIN(INPUT, gpv7-4, DOWN, FAST_SR1);
		PIN(INPUT, gpv7-5, DOWN, FAST_SR1);

		PIN(INPUT, gpb0-4, DOWN, FAST_SR1);

		PIN(INPUT, gpc0-2, DOWN, FAST_SR1);
		PIN(INPUT, gpc0-5, DOWN, FAST_SR1);
		PIN(INPUT, gpc0-7, DOWN, FAST_SR1);

		PIN(INPUT, gpc1-1, DOWN, FAST_SR1);

		PIN(INPUT, gpc3-4, NONE, FAST_SR1);
		PIN(INPUT, gpc3-5, NONE, FAST_SR1);
		PIN(INPUT, gpc3-6, NONE, FAST_SR1);
		PIN(INPUT, gpc3-7, NONE, FAST_SR1);

		PIN(OUTPUT, gpg0-0, NONE, FAST_SR1);
		PIN(2, gpg0-1, DOWN, FAST_SR1);

		PIN(INPUT, gpd2-5, DOWN, FAST_SR1);

		PIN(INPUT, gpd4-0, NONE, FAST_SR1);
		PIN(INPUT, gpd4-1, DOWN, FAST_SR1);
		PIN(INPUT, gpd4-2, DOWN, FAST_SR1);
		PIN(INPUT, gpd4-3, DOWN, FAST_SR1);
		PIN(INPUT, gpd4-4, DOWN, FAST_SR1);

		PIN(INPUT, gpd6-3, DOWN, FAST_SR1);

		PIN(INPUT, gpd8-1, UP, FAST_SR1);

		PIN(INPUT, gpg1-0, DOWN, FAST_SR1);
		PIN(INPUT, gpg1-1, DOWN, FAST_SR1);
		PIN(INPUT, gpg1-2, DOWN, FAST_SR1);
		PIN(INPUT, gpg1-3, DOWN, FAST_SR1);
		PIN(INPUT, gpg1-4, DOWN, FAST_SR1);

		PIN(INPUT, gpg2-0, DOWN, FAST_SR1);
		PIN(INPUT, gpg2-1, DOWN, FAST_SR1);

		PIN(INPUT, gpg3-0, DOWN, FAST_SR1);
		PIN(INPUT, gpg3-1, DOWN, FAST_SR1);
		PIN(INPUT, gpg3-5, DOWN, FAST_SR1);
	};

	ssp_gps_pwr_en: ssp-gps-pwr-en {
		samsung,pins = "gpg2-0";
		samsung,pin-function = <1>;
		samsung,pin-pud = <1>;
		samsung,pin-drv = <2>;
	};

	fimc_is_ois_hsi2c_on: fimc-is-ois-hsi2c-on {
		samsung,pins = "gpd1-3", "gpd1-2";
		samsung,pin-function = <3>;
		samsung,pin-pud = <0>;
		samsung,pin-drv = <0>;
	};

	fimc_is_hsi2c_off: fimc-is-hsi2c-off {
		samsung,pins = "gpd1-3", "gpd1-2";
		samsung,pin-function = <0>;
		samsung,pin-pud = <0>;
		samsung,pin-drv = <3>;
	};

	fimc_is_ch2_i2c_off: fimc-is-ch2-i2c-off {
		samsung,pins = "gpc2-5", "gpc2-4";
		samsung,pin-function = <0>;
		samsung,pin-pud = <0>;
		samsung,pin-drv = <6>;
	};

	fimc_is_ch2_mclk_off: fimc-is-ch2_mclk_off {
		samsung,pins = "gpd7-2";
		samsung,pin-function = <1>;
		samsung,pin-pud = <1>;
		samsung,pin-drv = <2>;
	};

	fimc_is_spi_pin0: fimc-is-spi-pin0 {
		samsung,pin-function = <EXYNOS_PIN_FUNC_2>;
		samsung,pin-pud = <EXYNOS_PIN_PULL_NONE>;
		samsung,pin-drv = <EXYNOS5433_PIN_DRV_FAST_SR1>;
		samsung,pins = "gpc3-3", "gpc3-2", "gpc3-0";
	};

	fimc_is_spi_ssn0: fimc-is-spi-ssn0 {
		samsung,pins = "gpc3-1", "gpc0-6";
		samsung,pin-function = <0>;
		samsung,pin-pud = <0>;
		samsung,pin-drv = <2>;
	};

	fimc_is_ch0_mclk_off: fimc-is-ch0_mclk_off {
		samsung,pins = "gpd7-0";
		samsung,pin-function = <1>;
		samsung,pin-pud = <1>;
		samsung,pin-drv = <2>;
	};

	fimc_is_ch1_i2c_off: fimc-is-ch1-i2c-off {
		samsung,pins = "gpc2-3", "gpc2-2";
		samsung,pin-function = <0>;
		samsung,pin-pud = <0>;
		samsung,pin-drv = <3>;
	};

	fimc_is_comp_int: fimc-is-comp-int {
		samsung,pins = "gpc1-0";
		samsung,pin-function = <3>;
		samsung,pin-pud = <1>;
		samsung,pin-drv = <0>;
	};

	uart1_bus: uart1-bus {
		samsung,pins = "gpd1-1", "gpd1-0";
		samsung,pin-function = <EXYNOS_PIN_FUNC_2>;
		samsung,pin-pud = <EXYNOS_PIN_PULL_NONE>;
	};
};

&pinctrl_touch {
	pinctrl-names = "default";
	pinctrl-0 = <&initial_touch>;

	initial_touch: initial-state {
		PIN(INPUT, gpj1-2, DOWN, FAST_SR1);
	};
};

&pwm {
	pinctrl-0 = <&pwm0_out>;
	pinctrl-names = "default";
	status = "okay";
};

&mic {
	status = "okay";
};

&pmu_system_controller {
	assigned-clocks = <&pmu_system_controller 0>;
	assigned-clock-parents = <&xxti>;
};

&serial_1 {
	status = "okay";
};

&serial_3 {
	status = "okay";
};

&spi_0 {
	cs-gpios = <&gpd8 1 0>;
	status = "okay";

	bcm4773@0 {
		compatible = "ssp,BCM4773";
		reg = <0>;
		spi-max-frequency = <26000000>;
		spi-cpol;
		spi-cpha;

		clocks = <&s2mps13_osc 0>;
		clock-names = "xtal";

		pinctrl-names ="default";
		pinctrl-0 = <&ssp_irq &ssp_mcu_req &ssp_mcu_resp>;

		ssp-irq = <&gpa3 3 0x01>;
		ssp-mcu-req = <&gpf2 3 0x01>;
		ssp-mcu-resp = <&gpf2 2 0x00>;
		ssp-acc-position = <5>;
		ssp-mag-position = <3>;
		ssp-sns-combination = <0>;
		ssp,prox-hi_thresh = <130>;
		ssp,prox-low_thresh = <90>;
		ssp-ap-rev = <1>;
		ssp-mag-array = <10196 176 (-21) 516 10378 20 (-774) 1027 9454>;
		ssp-hw-rev = <9>;

		controller-data {
			samsung,spi-feedback-delay = <0>;
		};
	};
};

&spi_1 {
	cs-gpios = <&gpd6 3 GPIO_ACTIVE_HIGH>;
	status = "okay";

	wm5110: wm5110-codec@0 {
		compatible = "wlf,wm5110";
		reg = <0x0>;
		spi-max-frequency = <20000000>;
		interrupt-parent = <&gpa0>;
		interrupts = <4 IRQ_TYPE_NONE>;
		clocks = <&pmu_system_controller 0>,
			<&s2mps13_osc S2MPS11_CLK_BT>;
		clock-names = "mclk1", "mclk2";

		gpio-controller;
		#gpio-cells = <2>;

		wlf,micd-detect-debounce = <300>;
		wlf,micd-bias-start-time = <0x1>;
		wlf,micd-rate = <0x7>;
		wlf,micd-dbtime = <0x1>;
		wlf,micd-force-micbias;
		wlf,micd-configs = <0x0 1 0>;
		wlf,hpdet-channel = <1>;
		wlf,gpsw = <0x1>;
		wlf,inmode = <2 0 2 0>;

		wlf,reset = <&gpc0 7 GPIO_ACTIVE_HIGH>;
		wlf,ldoena = <&gpf0 0 GPIO_ACTIVE_HIGH>;

		/* core supplies */
		AVDD-supply = <&ldo18_reg>;
		DBVDD1-supply = <&ldo18_reg>;
		CPVDD-supply = <&ldo18_reg>;
		DBVDD2-supply = <&ldo18_reg>;
		DBVDD3-supply = <&ldo18_reg>;

		controller-data {
			samsung,spi-feedback-delay = <0>;
		};
	};
};

&spi_3 {
	status = "okay";
	no-cs-readback;

	irled@0 {
		compatible = "ir-spi-led";
		reg = <0x0>;
		spi-max-frequency = <5000000>;
		power-supply = <&irda_regulator>;
		duty-cycle = <60>;
		led-active-low;

		controller-data {
			samsung,spi-feedback-delay = <0>;
		};
	};
};

&spi_5 {
	cs-gpios = <&gpc0 6 0>, <&gpc3 1 0>;

	status = "okay";
	clocks = <&cmu_cam1 CLK_ISP_SPI0>,
		<&cmu_top CLK_SCLK_ISP_SPI1_CAM1>;
	clock-names = "spi", "spi_busclk0";
	pinctrl-names ="default";
	pinctrl-0 = <&fimc_is_spi_pin0>;
	num-cs = <2>;
	byte-swap;

	fimc_is_spi_0@0 {
		compatible = "samsung,fimc_is_spi0";
		spi-max-frequency = <50000000>;
		reg = <0x0>;

		controller-data {
			samsung,spi-feedback-delay = <2>;
		};
	};

	fimc_is_spi_1@1 {
		compatible = "samsung,fimc_is_spi1";
		fimc_is_spi_sclk = "gpc3-0";
		fimc_is_spi_ssn = "gpc3-1";
		fimc_is_spi_miso = "gpc3-2";
		fimc_is_spi_mois = "gpc3-3";
		spi-max-frequency = <50000000>;
		reg = <0x1>;
		pinctrl-names = "default";
		pinctrl-0 = <&fimc_is_comp_int>;

		controller-data {
			samsung,spi-feedback-delay = <3>;
		};
	};
};

&timer {
	clock-frequency = <24000000>;
};

&tmu_atlas0 {
	vtmu-supply = <&ldo3_reg>;
	status = "okay";
};

&tmu_apollo {
	vtmu-supply = <&ldo3_reg>;
	status = "okay";
};

&tmu_g3d {
	vtmu-supply = <&ldo3_reg>;
	status = "okay";
};

&usbdrd30 {
	vdd33-supply = <&ldo10_reg>;
	vdd10-supply = <&ldo6_reg>;
	status = "okay";
};

&usbdrd_dwc3 {
	dr_mode = "otg";
	extcon = <&muic>;
};

&usbdrd30_phy {
	vbus-supply = <&safeout1_reg>;
	status = "okay";
};

&xxti {
	clock-frequency = <24000000>;
};

&fimc_is {
	status = "okay";
	interrupts = <0 165 0>; /* Remove ISP_GIC to use FIMC IS i2c channel in host */
	companion_spi_channel = <0>;
	use_vision = <1>;
	use_sensor_dynamic_voltage_mode = <1>;
	use_ois;
	use_ois_hsi2c;
	use_module_check;

	fimc_is_dvfs {
		default_int = <400000>; /* L0 */
		default_cam = <777000>; /* L0 */
		default_mif = <825000>; /* L0 */
		default_i2c = <0>;

		front_preview_int = <267000>; /* L2 */
		front_preview_cam = <111000>; /* L9 */
		front_preview_mif = <543000>; /* L2 */
		front_preview_i2c = <0>;

		front_capture_int = <267000>; /* L2 */
		front_capture_cam = <111000>; /* L9 */
		front_capture_mif = <543000>; /* L2 */
		front_capture_i2c = <0>;

		front_camcording_int = <267000>; /* L2 */
		front_camcording_cam = <111000>; /* L9 */
		front_camcording_mif = <543000>; /* L2 */
		front_camcording_i2c = <0>;

		front_vt1_int = <200000>; /* L3 */
		front_vt1_cam = <111000>; /* L9 */
		front_vt1_mif = <543000>; /* L2 */
		front_vt1_i2c = <0>;

		front_vt2_int = <200000>; /* L3 */
		front_vt2_cam = <111000>; /* L9 */
		front_vt2_mif = <543000>; /* L2 */
		front_vt2_i2c = <0>;

		rear_preview_fhd_bns_off_int = <267000>; /* L2 */
		rear_preview_fhd_bns_off_cam = <200000>; /* L8 */
		rear_preview_fhd_bns_off_mif = <543000>; /* L2 */
		rear_preview_fhd_bns_off_i2c = <0>;

		rear_preview_fhd_int = <267000>; /* L2 */
		rear_preview_fhd_cam = <333000>; /* L6 */
		rear_preview_fhd_mif = <543000>; /* L2 */
		rear_preview_fhd_i2c = <0>;

		rear_preview_whd_int = <334000>; /* L1 */
		rear_preview_whd_cam = <600000>; /* L2 */
		rear_preview_whd_mif = <667000>; /* L1 */
		rear_preview_whd_i2c = <0>;

		rear_preview_uhd_int = <400000>; /* L0 */
		rear_preview_uhd_cam = <666000>; /* L1 */
		rear_preview_uhd_mif = <825000>; /* L0 */
		rear_preview_uhd_i2c = <0>;

		rear_capture_int = <400000>; /* L0 */
		rear_capture_cam = <777000>; /* L0 */
		rear_capture_mif = <667000>; /* L1 */
		rear_capture_i2c = <0>;

		rear_camcording_fhd_bns_off_int = <267000>; /* L2 */
		rear_camcording_fhd_bns_off_cam = <580000>; /* L3 */
		rear_camcording_fhd_bns_off_mif = <543000>; /* L2 */
		rear_camcording_fhd_bns_off_i2c = <0>;

		rear_camcording_fhd_int = <267000>; /* L2 */
		rear_camcording_fhd_cam = <555000>; /* L4 */
		rear_camcording_fhd_mif = <543000>; /* L2 */
		rear_camcording_fhd_i2c = <0>;

		rear_camcording_whd_int = <334000>; /* L1 */
		rear_camcording_whd_cam = <600000>; /* L2 */
		rear_camcording_whd_mif = <667000>; /* L1 */
		rear_camcording_whd_i2c = <0>;

		rear_camcording_uhd_int = <400000>; /* L0 */
		rear_camcording_uhd_cam = <666000>; /* L1 */
		rear_camcording_uhd_mif = <825000>; /* L0 */
		rear_camcording_uhd_i2c = <0>;

		dual_preview_int = <334000>; /* L1 */
		dual_preview_cam = <444000>; /* L5 */
		dual_preview_mif = <825000>; /* L0 */
		dual_preview_i2c = <0>;

		dual_capture_int = <400000>; /* L0 */
		dual_capture_cam = <777000>; /* L4 */
		dual_capture_mif = <825000>; /* L0 */
		dual_capture_i2c = <0>;

		dual_camcording_int = <334000>; /* L1 */
		dual_camcording_cam = <444000>; /* L5 */
		dual_camcording_mif = <825000>; /* L0 */
		dual_camcording_i2c = <0>;

		high_speed_fps_int = <400000>; /* L0 */
		high_speed_fps_cam = <222000>; /* L7 */
		high_speed_fps_mif = <825000>; /* L0 */
		high_speed_fps_i2c = <0>;

		dis_enable_int = <400000>; /* L0 */
		dis_enable_cam = <777000>; /* L0 */
		dis_enable_mif = <825000>; /* L0 */
		dis_enable_i2c = <0>;

		max_int = <400000>; /* L0 */
		max_cam = <777000>; /* L0 */
		max_mif = <825000>; /* L0 */
		max_i2c = <0>;
	};
};
